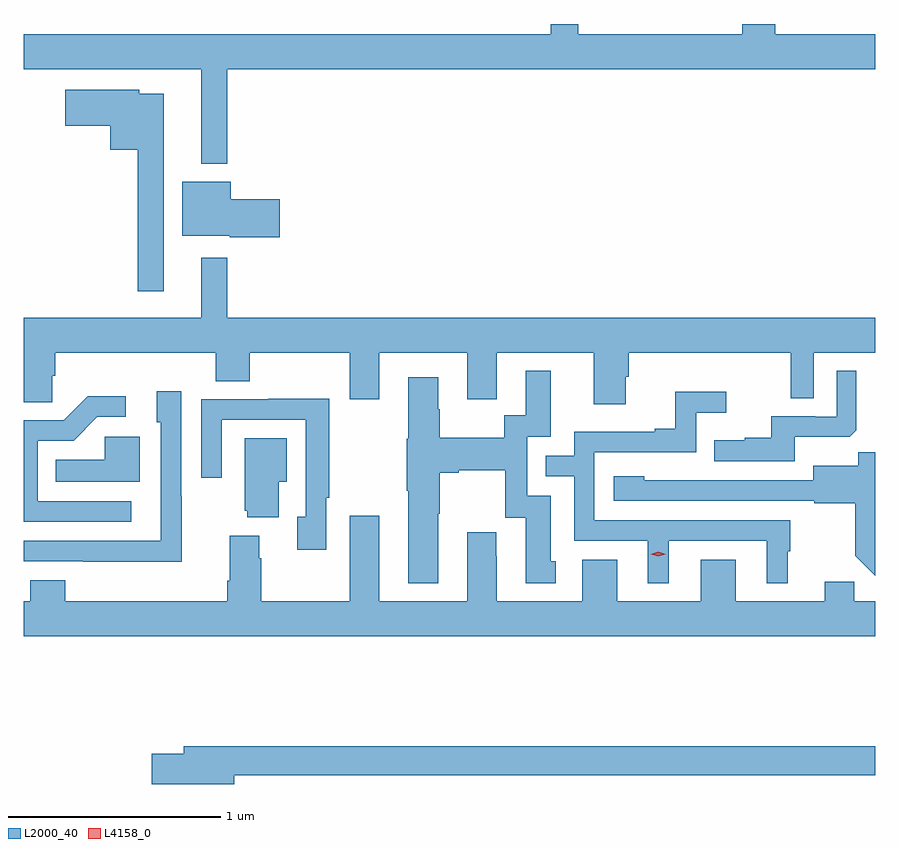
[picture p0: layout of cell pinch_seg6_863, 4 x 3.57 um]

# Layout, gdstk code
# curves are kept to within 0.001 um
import gdstk
lib = gdstk.Library(unit=1e-6, precision=1e-09)
def P(c, l, *ps):  # polygons
    for p in ps: c.add(gdstk.Polygon(p, *l))
L2000_40 = (2000, 40)
L4158_0 = (4158, 0)

pinch_seg6_863 = lib.new_cell('pinch_seg6_863')
P(pinch_seg6_863, L2000_40, [(196.993,932.684),(200.036,932.684),(200.036,932.848),(199.565,932.848),(199.565,932.896),(199.412,932.896),(199.412,932.848),(198.641,932.848),(198.641,932.896),(198.511,932.896),(198.511,932.848),(196.036,932.848),(196.036,932.684),(196.871,932.684),(196.871,932.24),(196.993,932.24)],
  [(196.693,932.569),(196.578,932.569),(196.578,932.587),(196.23,932.587),(196.23,932.417),(196.442,932.417),(196.442,932.306),(196.572,932.306),(196.572,931.641),(196.693,931.641)],
  [(197.239,932.072),(197.008,932.072),(197.008,932.155),(196.781,932.155),(196.781,931.901),(197.004,931.901),(197.004,931.894),(197.239,931.894)],
  [(198.865,931.239),(198.878,931.239),(198.878,931.352),(199.638,931.352),(199.638,931.138),(199.746,931.138),(199.746,931.352),(200.036,931.352),(200.036,931.516),(196.993,931.516),(196.993,931.798),(196.871,931.798),(196.871,931.516),(196.036,931.516),(196.036,931.12),(196.17,931.12),(196.17,931.243),(196.184,931.243),(196.184,931.352),(196.937,931.352),(196.937,931.219),(197.097,931.219),(197.097,931.352),(197.567,931.352),(197.567,931.134),(197.707,931.134),(197.707,931.352),(198.119,931.352),(198.119,931.134),(198.259,931.134),(198.259,931.352),(198.713,931.352),(198.713,931.11),(198.865,931.11)],
  [(197.983,930.595),(197.991,930.595),(197.991,930.788),(198.079,930.788),(198.079,930.8),(198.299,930.8),(198.299,930.576),(198.395,930.576),(198.395,930.27),(198.535,930.27),(198.535,930.372),(198.511,930.372),(198.511,930.681),(198.402,930.681),(198.402,930.957),(198.511,930.957),(198.511,931.267),(198.395,931.267),(198.395,931.058),(198.294,931.058),(198.294,930.952),(197.991,930.952),(197.991,931.086),(197.983,931.086),(197.983,931.237),(197.843,931.237),(197.843,930.948),(197.836,930.948),(197.836,930.704),(197.843,930.704),(197.843,930.269),(197.983,930.269)],
  [(199.657,930.956),(199.915,930.956),(199.947,930.987),(199.947,931.267),(199.854,931.267),(199.854,931.05),(199.754,931.05),(199.754,931.053),(199.547,931.053),(199.547,930.952),(199.423,930.952),(199.423,930.94),(199.279,930.94),(199.279,930.843),(199.657,930.843)],
  [(196.779,930.677),(196.776,930.677),(196.776,931.171),(196.661,931.171),(196.661,931.026),(196.68,931.026),(196.68,930.695),(196.679,930.695),(196.679,930.468),(196.036,930.468),(196.036,930.372),(196.315,930.372),(196.315,930.371),(196.779,930.371)],
  [(199.066,930.468),(199.526,930.468),(199.526,930.269),(199.624,930.269),(199.624,930.42),(199.636,930.42),(199.636,930.564),(198.717,930.564),(198.717,930.885),(199.194,930.885),(199.194,931.07),(199.336,931.07),(199.336,931.169),(199.096,931.169),(199.096,930.994),(199.001,930.994),(199.001,930.981),(198.621,930.981),(198.621,930.867),(198.487,930.867),(198.487,930.771),(198.621,930.771),(198.621,930.468),(198.968,930.468),(198.968,930.269),(199.066,930.269)],
  [(196.54,930.654),(196.101,930.654),(196.101,930.939),(196.27,930.939),(196.381,931.05),(196.516,931.05),(196.516,931.148),(196.337,931.148),(196.224,931.035),(196.036,931.035),(196.036,930.558),(196.54,930.558)],
  [(197.457,930.67),(197.47,930.67),(197.47,931.136),(197.185,931.136),(197.185,931.134),(196.869,931.134),(196.869,930.765),(196.965,930.765),(196.965,931.038),(197.361,931.038),(197.361,930.582),(197.321,930.582),(197.321,930.426),(197.457,930.426)],
  [(196.582,930.958),(196.417,930.958),(196.417,930.85),(196.186,930.85),(196.186,930.746),(196.582,930.746)],
  [(197.233,930.746),(197.272,930.746),(197.272,930.949),(197.075,930.949),(197.075,930.609),(197.087,930.609),(197.087,930.578),(197.233,930.578)],
  [(200.036,930.884),(199.956,930.884),(199.956,930.82),(199.745,930.82),(199.745,930.753),(198.951,930.754),(198.951,930.772),(198.807,930.772),(198.807,930.657),(199.749,930.657),(199.749,930.645),(199.941,930.645),(199.941,930.399),(200.036,930.304)],
  [(199.217,930.379),(199.217,930.184),(198.823,930.184),(198.823,930.379),(198.659,930.379),(198.659,930.184),(198.259,930.184),(198.259,930.395),(198.256,930.395),(198.256,930.508),(198.119,930.508),(198.119,930.184),(197.707,930.184),(197.707,930.586),(197.567,930.586),(197.567,930.184),(197.151,930.184),(197.151,930.386),(197.143,930.386),(197.143,930.493),(197.003,930.493),(197.003,930.28),(196.991,930.28),(196.991,930.184),(196.232,930.184),(196.232,930.283),(196.067,930.283),(196.067,930.184),(196.036,930.184),(196.036,930.02),(200.036,930.02),(200.036,930.184),(199.937,930.184),(199.937,930.275),(199.799,930.275),(199.799,930.184),(199.381,930.184),(199.381,930.379)],
  [(197.026,929.368),(200.036,929.368),(200.036,929.504),(196.787,929.504),(196.787,929.468),(196.638,929.468),(196.638,929.326),(197.026,929.326)])
P(pinch_seg6_863, L4158_0, [(199.017,930.396),(198.982,930.406),(198.981,930.406),(198.982,930.406),(199.017,930.416),(199.052,930.406),(199.052,930.406),(199.052,930.406)])

lib.write_gds('pinch_seg6_863.gds')
